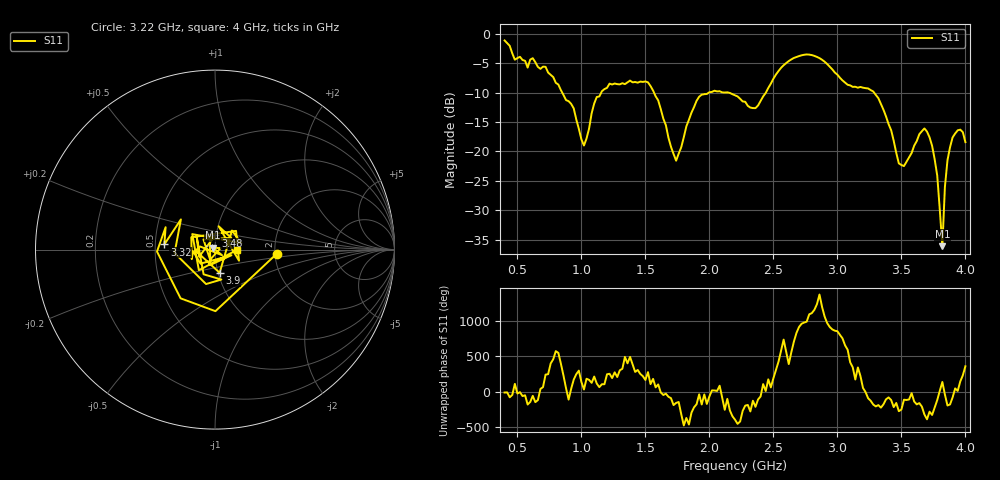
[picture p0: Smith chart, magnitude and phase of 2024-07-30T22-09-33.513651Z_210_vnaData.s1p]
!Created with skrf (http://scikit-rf.org).
# Hz S RI R 50.0
!freq ReS11 ImS11
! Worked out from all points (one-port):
!   181 points, 400 MHz to 4 GHz, reference 50 ohm
!   lowest |S11| = -36.1 dB at 3.82 GHz (marker M1), VSWR 1.03, Z = 48.8 + j1.02 ohm
!   |S11| at or under -10 dB: 850.1 MHz to 1.155 GHz (304.7 MHz wide, 30.4 % of centre); 1.567 GHz to 1.996 GHz (428.5 MHz wide, 24.1 % of centre); 3.287 GHz to end of sweep (the widest 3 of 4)
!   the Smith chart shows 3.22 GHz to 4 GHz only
!   S11 on the Smith chart (normalised r, x): 3.22 GHz: 2.05, -0.11; 3.32 GHz: 0.56, +0.03; 3.48 GHz: 0.99, +0.16; 3.9 GHz: 1.02, -0.27; 4 GHz: 1.27, -0.01
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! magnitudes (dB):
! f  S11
! 400 MHz  -1.1
! 480 MHz  -4.4
! 720 MHz  -5.6
! 860 MHz  -10.4
! 940 MHz  -12.7
! 1.02 GHz  -19.0
! 1.12 GHz  -10.7
! 1.3 GHz  -8.6
! 1.52 GHz  -8.3
! 1.74 GHz  -21.6
! 1.76 GHz  -20.4
! 1.92 GHz  -10.7
! 2.2 GHz  -10.5
! 2.36 GHz  -12.6
! 2.66 GHz  -4.1
! 2.86 GHz  -4.1
! 3.1 GHz  -8.8
! 3.22 GHz  -9.2
! 3.32 GHz  -10.9
! 3.48 GHz  -22.0
! 3.56 GHz  -21.0
! 3.68 GHz  -16.1
! 3.72 GHz  -17.6
! 3.78 GHz  -24.1
! 3.82 GHz  -36.1
! 3.84 GHz  -26.0
! 3.9 GHz  -17.6
! 4 GHz  -18.4
